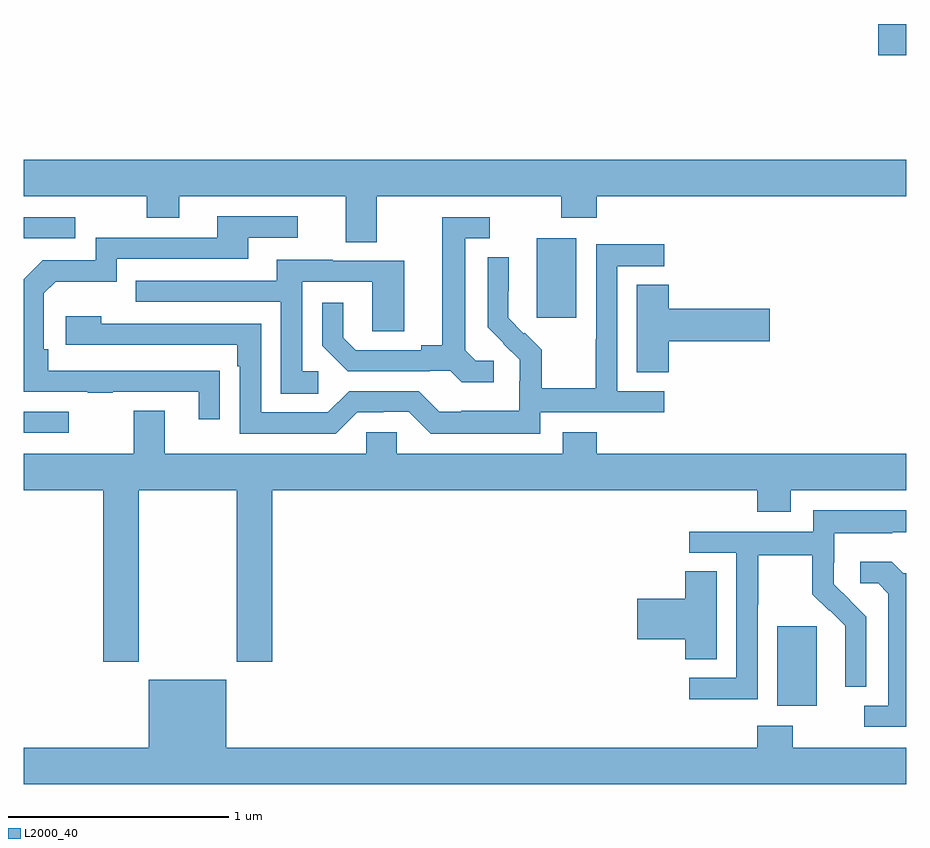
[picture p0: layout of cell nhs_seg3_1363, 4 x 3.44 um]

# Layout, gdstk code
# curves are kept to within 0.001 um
import gdstk
lib = gdstk.Library(unit=1e-6, precision=1e-09)
def R(c, l, rs):  # rectangles x0, y0, x1, y1
    for r in rs: c.add(gdstk.rectangle(r[:2], r[2:], *l))
def P(c, l, *ps):  # polygons
    for p in ps: c.add(gdstk.Polygon(p, *l))
L2000_40 = (2000, 40)

nhs_seg3_1363 = lib.new_cell('nhs_seg3_1363')
R(nhs_seg3_1363, L2000_40, [(184.415,721.25,184.594,721.611), (181,722.487,181.204,722.583), (183.326,723.009,183.505,723.37), (181,723.369,181.234,723.465), (184.872,724.198,185,724.34)])
P(nhs_seg3_1363, L2000_40, [(182.599,723.56),(183.436,723.56),(183.436,723.461),(183.596,723.461),(183.596,723.56),(185,723.56),(185,723.724),(181,723.724),(181,723.56),(181.558,723.56),(181.558,723.461),(181.705,723.461),(181.705,723.56),(182.459,723.56),(182.459,723.352),(182.599,723.352)],
  [(181.889,722.768),(181.112,722.769),(181.112,722.866),(181.092,722.866),(181.092,723.12),(181.145,723.173),(181.422,723.173),(181.422,723.276),(182.017,723.276),(182.017,723.372),(182.242,723.372),(182.242,723.468),(181.877,723.468),(181.877,723.372),(181.326,723.372),(181.326,723.27),(181.086,723.27),(181,723.184),(181,722.673),(181.291,722.673),(181.291,722.668),(181.403,722.668),(181.403,722.673),(181.793,722.673),(181.793,722.55),(181.889,722.55)],
  [(183.13,722.814),(183.048,722.814),(183.001,722.861),(183.001,723.369),(183.112,723.369),(183.112,723.465),(182.897,723.465),(182.897,722.885),(182.801,722.885),(182.801,722.862),(182.506,722.862),(182.449,722.919),(182.449,723.076),(182.352,723.076),(182.352,722.882),(182.468,722.766),(182.84,722.766),(182.84,722.769),(182.934,722.769),(182.986,722.717),(183.13,722.717)],
  [(183.342,722.58),(183.904,722.58),(183.904,722.676),(183.69,722.676),(183.69,723.243),(183.904,723.243),(183.904,723.342),(183.594,723.342),(183.594,722.912),(183.592,722.912),(183.592,722.689),(183.347,722.689),(183.347,722.863),(183.27,722.94),(183.267,722.937),(183.197,723.008),(183.198,723.284),(183.102,723.284),(183.102,722.966),(183.248,722.818),(183.248,722.721),(183.246,722.721),(183.246,722.587),(182.983,722.587),(182.983,722.583),(182.883,722.583),(182.79,722.676),(182.475,722.676),(182.379,722.58),(182.076,722.58),(182.076,722.982),(181.352,722.982),(181.352,723.016),(181.191,723.016),(181.191,722.886),(181.967,722.886),(181.967,722.789),(181.98,722.789),(181.98,722.484),(182.415,722.484),(182.511,722.58),(182.63,722.58),(182.63,722.583),(182.745,722.583),(182.845,722.483),(183.342,722.483)],
  [(182.335,722.766),(182.262,722.766),(182.262,723.171),(182.58,723.171),(182.58,722.947),(182.725,722.947),(182.725,723.267),(182.401,723.267),(182.401,723.271),(182.147,723.271),(182.147,723.177),(181.507,723.177),(181.507,723.081),(182.166,723.081),(182.166,722.665),(182.335,722.665)],
  [(183.923,722.903),(184.381,722.903),(184.381,723.05),(183.923,723.05),(183.923,723.158),(183.779,723.158),(183.779,722.761),(183.923,722.761)],
  [(181.521,722.228),(181.966,722.228),(181.966,721.449),(182.126,721.449),(182.126,722.228),(184.325,722.228),(184.325,722.129),(184.477,722.129),(184.477,722.228),(185,722.228),(185,722.392),(183.596,722.392),(183.596,722.491),(183.443,722.491),(183.443,722.392),(182.691,722.392),(182.691,722.49),(182.553,722.49),(182.553,722.392),(181.639,722.392),(181.639,722.587),(181.499,722.587),(181.499,722.392),(181,722.392),(181,722.228),(181.361,722.228),(181.361,721.449),(181.521,721.449)],
  [(184.326,721.708),(184.329,721.708),(184.329,721.932),(184.573,721.932),(184.573,721.757),(184.65,721.68),(184.653,721.683),(184.724,721.613),(184.724,721.49),(184.722,721.49),(184.722,721.336),(184.818,721.336),(184.818,721.654),(184.672,721.802),(184.672,721.899),(184.674,721.899),(184.674,722.033),(184.937,722.033),(184.937,722.037),(185,722.037),(185,722.137),(184.578,722.137),(184.578,722.04),(184.017,722.04),(184.017,721.944),(184.23,721.944),(184.23,721.377),(184.017,721.377),(184.017,721.279),(184.326,721.279)],
  [(185,721.851),(184.986,721.851),(184.934,721.903),(184.791,721.903),(184.791,721.806),(184.872,721.806),(184.919,721.759),(184.919,721.251),(184.809,721.251),(184.809,721.155),(185,721.155)],
  [(184.141,721.859),(183.998,721.859),(183.998,721.736),(183.78,721.736),(183.78,721.553),(183.998,721.553),(183.998,721.462),(184.141,721.462)],
  [(185,721.06),(184.485,721.06),(184.485,721.159),(184.325,721.159),(184.325,721.06),(181.918,721.06),(181.918,721.369),(181.568,721.369),(181.568,721.06),(181,721.06),(181,720.896),(185,720.896)])

lib.write_gds('nhs_seg3_1363.gds')
